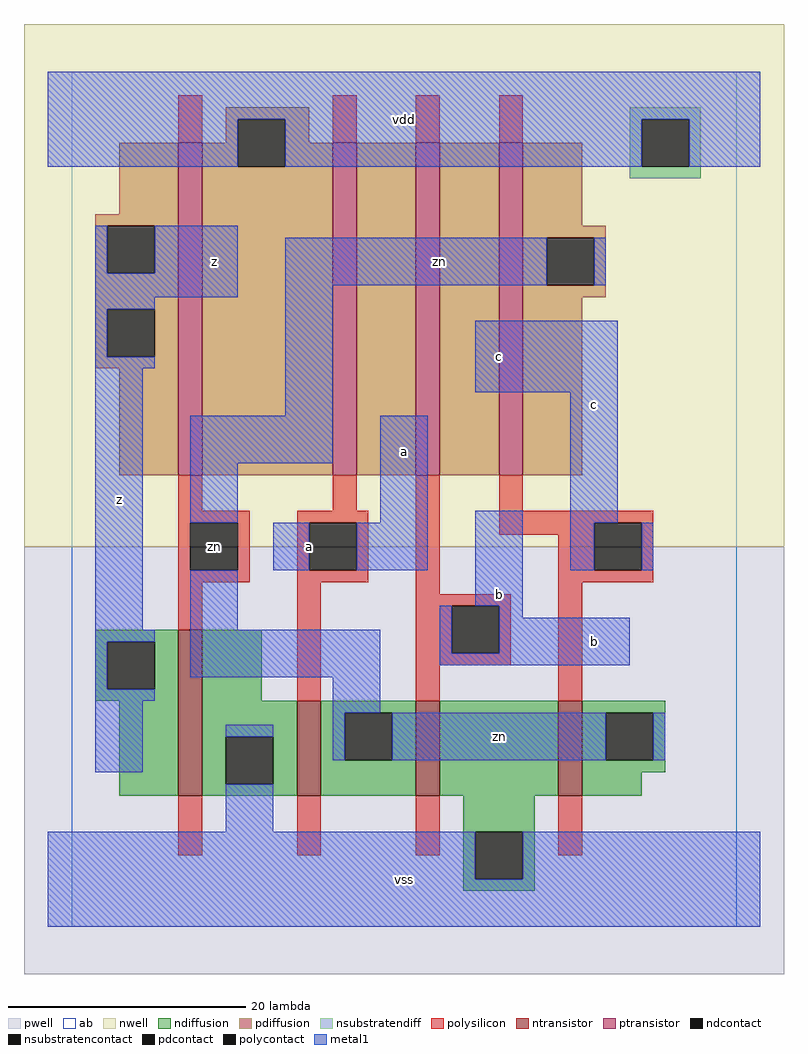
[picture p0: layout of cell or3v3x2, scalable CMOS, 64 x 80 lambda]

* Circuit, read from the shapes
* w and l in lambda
.subckt or3v3x2 a b c vdd vss z zn
M1 vss zn z VSUBS nfet w=14 l=2
M2 zn a vss VSUBS nfet w=8 l=2
M3 vss b zn VSUBS nfet w=8 l=2
M4 zn c vss VSUBS nfet w=8 l=2
M5 vdd zn z vdd pfet w=28 l=2
M6 n1 a vdd vdd pfet w=28 l=2
M7 n2 b n1 vdd pfet w=28 l=2
M8 zn c n2 vdd pfet w=28 l=2
.ends

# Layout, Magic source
magic
tech scmos
<< ab >>
rect 0 0 56 72
<< pwell >>
rect -4 -4 60 32
<< nwell >>
rect -4 32 60 76
<< polysilicon >>
rect 9 66 11 70
rect 22 66 24 70
rect 29 66 31 70
rect 36 66 38 70
rect 9 35 11 38
rect 22 35 24 38
rect 9 34 15 35
rect 9 30 10 34
rect 14 30 15 34
rect 9 29 15 30
rect 19 34 25 35
rect 19 30 20 34
rect 24 30 25 34
rect 19 29 25 30
rect 9 25 11 29
rect 19 19 21 29
rect 29 28 31 38
rect 36 35 38 38
rect 36 34 49 35
rect 36 33 44 34
rect 41 30 44 33
rect 48 30 49 34
rect 41 29 49 30
rect 29 27 37 28
rect 29 23 32 27
rect 36 23 37 27
rect 29 22 37 23
rect 29 19 31 22
rect 41 19 43 29
rect 9 6 11 11
rect 19 6 21 11
rect 29 6 31 11
rect 41 6 43 11
<< ndiffusion >>
rect 2 24 9 25
rect 2 20 3 24
rect 7 20 9 24
rect 2 19 9 20
rect 4 11 9 19
rect 11 19 16 25
rect 11 16 19 19
rect 11 12 13 16
rect 17 12 19 16
rect 11 11 19 12
rect 21 18 29 19
rect 21 14 23 18
rect 27 14 29 18
rect 21 11 29 14
rect 31 11 41 19
rect 43 18 50 19
rect 43 14 45 18
rect 49 14 50 18
rect 43 13 50 14
rect 43 11 48 13
rect 33 8 39 11
rect 33 4 34 8
rect 38 4 39 8
rect 33 3 39 4
<< pdiffusion >>
rect 13 68 20 69
rect 13 66 14 68
rect 4 60 9 66
rect 2 59 9 60
rect 2 55 3 59
rect 7 55 9 59
rect 2 52 9 55
rect 2 48 3 52
rect 7 48 9 52
rect 2 47 9 48
rect 4 38 9 47
rect 11 64 14 66
rect 18 66 20 68
rect 18 64 22 66
rect 11 38 22 64
rect 24 38 29 66
rect 31 38 36 66
rect 38 59 43 66
rect 38 58 45 59
rect 38 54 40 58
rect 44 54 45 58
rect 38 53 45 54
rect 38 38 43 53
<< metal1 >>
rect -2 68 58 72
rect -2 64 14 68
rect 18 64 48 68
rect 52 64 58 68
rect 2 55 3 59
rect 7 55 14 59
rect 2 53 14 55
rect 18 54 40 58
rect 44 54 45 58
rect 2 52 7 53
rect 2 48 3 52
rect 2 47 7 48
rect 2 25 6 47
rect 18 43 22 54
rect 34 45 46 51
rect 10 39 22 43
rect 10 34 14 39
rect 26 34 30 43
rect 17 30 20 34
rect 24 30 30 34
rect 10 25 14 30
rect 34 27 38 35
rect 42 34 46 45
rect 42 30 44 34
rect 48 30 49 34
rect 2 24 7 25
rect 2 20 3 24
rect 10 21 26 25
rect 31 23 32 27
rect 36 26 38 27
rect 36 23 47 26
rect 31 22 47 23
rect 2 19 7 20
rect 2 13 6 19
rect 22 18 26 21
rect 13 16 17 17
rect 22 14 23 18
rect 27 14 45 18
rect 49 14 50 18
rect 13 8 17 12
rect -2 4 34 8
rect 38 4 58 8
rect -2 0 58 4
<< ntransistor >>
rect 9 11 11 25
rect 19 11 21 19
rect 29 11 31 19
rect 41 11 43 19
<< ptransistor >>
rect 9 38 11 66
rect 22 38 24 66
rect 29 38 31 66
rect 36 38 38 66
<< polycontact >>
rect 10 30 14 34
rect 20 30 24 34
rect 44 30 48 34
rect 32 23 36 27
<< ndcontact >>
rect 3 20 7 24
rect 13 12 17 16
rect 23 14 27 18
rect 45 14 49 18
rect 34 4 38 8
<< pdcontact >>
rect 3 55 7 59
rect 3 48 7 52
rect 14 64 18 68
rect 40 54 44 58
<< nsubstratencontact >>
rect 48 64 52 68
<< nsubstratendiff >>
rect 47 68 53 69
rect 47 64 48 68
rect 52 64 53 68
rect 47 63 53 64
<< labels >>
rlabel polycontact 12 32 12 32 6 zn
rlabel metal1 4 36 4 36 6 z
rlabel metal1 20 32 20 32 6 a
rlabel polycontact 12 32 12 32 6 zn
rlabel metal1 12 56 12 56 6 z
rlabel metal1 28 4 28 4 6 vss
rlabel metal1 36 28 36 28 6 b
rlabel metal1 28 40 28 40 6 a
rlabel metal1 36 48 36 48 6 c
rlabel metal1 28 68 28 68 6 vdd
rlabel metal1 36 16 36 16 6 zn
rlabel metal1 44 24 44 24 6 b
rlabel metal1 44 44 44 44 6 c
rlabel metal1 31 56 31 56 6 zn
<< end >>
